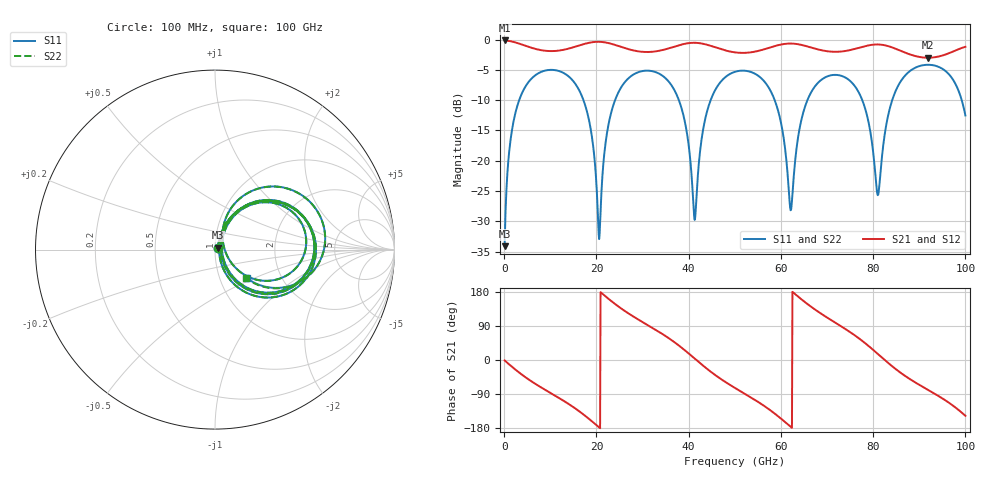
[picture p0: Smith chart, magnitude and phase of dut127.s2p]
! Touchstone file exported from HFSS 2026.1.0
!  File:  C:/ffzhzh/LocalFiles/Ansys_Project_Files/temp_train_TSV_RDL_127_1783460075_34316.aedt
!  Generated:  05:45:18 AM Jul  8, 2026
!  Design:  TSV_RDL
!  Project:  temp_train_TSV_RDL_127_1783460075_34316
! Variables:
!  h_bsmrdl = 2.65um
!  h_ox = 20um
!  h_rdl = 5um
!  h_sub = 68.22um
!  h_tmrdl = 3.84um
!  h_tsv = 68.22um
!  h_via = 3um
!  l_bsmrdl = 237.53um
!  l_sub = 2951.93um
!  l_tmrdl = 433.45um
!  m_sub = 200um
!  pitch = 47.77um
!  r_tsv = 7.09um
!  s_tmrdl = 10um
!  w_bsmrdl = 15.25um
!  w_sub = 500um
!  w_tmrdl = 19.93um
!  x_tsv_center1 = 443.415um
!  x_tsv_center2 = 696.195um
!  x_tsv_center3 = 1149.575um
!  x_tsv_center4 = 1402.355um
!  x_tsv_center5 = 1855.735um
!  x_tsv_center6 = 2108.515um
# GHz S MA R 50.000000
! Terminal data exported
! Port[1] = TM_RDL1_1_T1
! Port[2] = TM_RDL5_1_T1
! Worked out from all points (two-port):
!   1000 points, 100 MHz to 100 GHz, reference 50 ohm
!   highest |S21| = -0.14 dB at 100 MHz (marker M1); lowest = -3.0 dB at 91.9 GHz (marker M2)
!   |S21| within 3 dB of the highest: start of sweep to end of sweep
!   lowest |S11| = -34.1 dB at 100 MHz (marker M3), VSWR 1.04, Z = 51.6 + j1.16 ohm
!   |S11| at or under -10 dB: 17.2 GHz to 24.04 GHz (6.848 GHz wide, 33.2 % of centre); 37.88 GHz to 44.77 GHz (6.886 GHz wide, 16.7 % of centre); 58.66 GHz to 65.75 GHz (7.093 GHz wide, 11.4 % of centre) (the widest 3 of 6)
!   |S22| runs from -34.1 to -4.2 dB; largest |S21 - S12| = 5.1e-12
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0.1  0.01971 34.8  0.984 -1.1  0.984 -1.1  0.01971 34.8
! Gamma 0 0 0 0
! Port Impedance 50 0 50 0
1.6  0.1696 66.4  0.9657 -16.9  0.9657 -16.9  0.1696 66.4
4.6  0.4087 41.6  0.8902 -45.3  0.8902 -45.3  0.4087 41.6
10.6  0.5621 -2.3  0.8043 -90.9  0.8043 -90.9  0.5621 -2.3
16.8  0.3456 -48.6  0.9075 -140.1  0.9075 -140.1  0.3456 -48.6
19  0.1606 -65.2  0.9502 -161.4  0.9502 -161.4  0.1606 -65.2
20.6  0.02255 1.6  0.9591 -177.9  0.9591 -177.9  0.02263 1.6
22.2  0.1603 66.5  0.9438 165.7  0.9438 165.7  0.1603 66.5
24.3  0.3348 51.1  0.8977 145.5  0.8977 145.5  0.3348 51.0
33.4  0.5282 -14.4  0.8059 75.5  0.8059 75.5  0.5283 -14.4
38.5  0.2678 -52.6  0.911 32.3  0.911 32.3  0.2679 -52.7
41.3  0.03248 -0.0  0.9412 3.9  0.9412 3.9  0.03236 -0.2
44.3  0.2804 57.0  0.9 -26.3  0.9 -26.3  0.2804 57.0
50.1  0.543 14.4  0.7841 -74.1  0.7841 -74.1  0.5431 14.4
58.3  0.3417 -43.6  0.8758 -138.0  0.8758 -138.0  0.3418 -43.7
62.1  0.03901 -2.3  0.928 -175.9  0.928 -175.9  0.03823 -2.7
66.7  0.3755 44.6  0.8573 139.2  0.8573 139.2  0.3753 44.6
76.2  0.4044 -22.8  0.8413 63.5  0.8413 63.5  0.4045 -22.9
81  0.05197 12.1  0.9118 16.1  0.9118 16.1  0.05174 11.7
83.4  0.2507 68.6  0.8803 -9.3  0.8803 -9.3  0.2504 68.6
91.9  0.6197 10.7  0.7086 -78.9  0.7086 -78.9  0.6196 10.6
100  0.2365 -41.9  0.8724 -147.4  0.8724 -147.4  0.2357 -42.7
